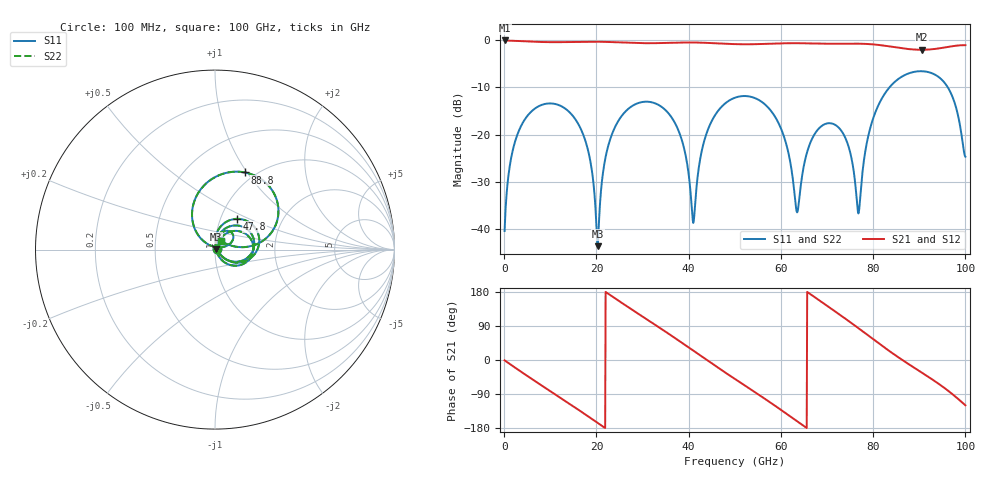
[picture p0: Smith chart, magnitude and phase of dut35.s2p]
! Touchstone file exported from HFSS 2026.1.0
!  File:  C:/ffzhzh/LocalFiles/Ansys_Project_Files/temp_train_TSV_RDL_35_1783441574_34316.aedt
!  Generated:  12:37:26 AM Jul  8, 2026
!  Design:  TSV_RDL
!  Project:  temp_train_TSV_RDL_35_1783441574_34316
! Variables:
!  h_bsmrdl = 3.8um
!  h_ox = 20um
!  h_rdl = 5um
!  h_sub = 92.84um
!  h_tmrdl = 3.72um
!  h_tsv = 92.84um
!  h_via = 3um
!  l_bsmrdl = 301.6um
!  l_sub = 2523.63um
!  l_tmrdl = 264.26um
!  m_sub = 200um
!  pitch = 41.88um
!  r_tsv = 12.11um
!  s_tmrdl = 10um
!  w_bsmrdl = 26.36um
!  w_sub = 500um
!  w_tmrdl = 27.57um
!  x_tsv_center1 = 278.045um
!  x_tsv_center2 = 606.005um
!  x_tsv_center3 = 897.835um
!  x_tsv_center4 = 1225.795um
!  x_tsv_center5 = 1517.625um
!  x_tsv_center6 = 1845.585um
# GHz S MA R 50.000000
! Terminal data exported
! Port[1] = TM_RDL1_1_T1
! Port[2] = TM_RDL5_1_T1
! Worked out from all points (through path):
!   1000 points, 100 MHz to 100 GHz, reference 50 ohm
!   highest |S21| = -0.07 dB at 100 MHz (marker M1); lowest = -2.0 dB at 90.5 GHz (marker M2)
!   group delay of S21, straight-line fit = 23.2 ps
!   lowest |S11| = -43.6 dB at 20.3 GHz (marker M3), VSWR 1.01, Z = 50.6 + j0.247 ohm
!   |S11| at or under -10 dB: start of sweep to 83.53 GHz; 96.19 GHz to end of sweep
!   |S22| runs from -43.8 to -6.6 dB; largest |S21 - S12| = 5.8e-13
!   S11 on the Smith chart (normalised r, x): 100 MHz: 1.02, +0.01; 47.8 GHz: 1.20, +0.43; 88.8 GHz: 0.89, +0.98; 100 GHz: 1.06, +0.10
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0.1  0.009603 28.6  0.9916 -0.9  0.9916 -0.9  0.009603 28.6
! Gamma 0 0 0 0
! Port Impedance 50 0 50 0
1.9  0.0695 62.7  0.9842 -16.2  0.9842 -16.2  0.0695 62.6
5.4  0.166 38.5  0.9666 -45.2  0.9666 -45.2  0.166 38.5
16.8  0.11 -48.1  0.9606 -137.1  0.9606 -137.1  0.11 -48.3
20.3  0.006636 21.6  0.9615 -166.2  0.9615 -166.2  0.006432 22.3
24.2  0.125 65.7  0.9489 161.4  0.9489 161.4  0.1251 65.7
33.4  0.2074 -3.8  0.9295 87.6  0.9295 87.6  0.2075 -4.0
38.3  0.09501 -38.8  0.9422 47.4  0.9422 47.4  0.09505 -39.4
41  0.01169 19.9  0.9436 24.6  0.9436 24.6  0.01072 18.9
43.5  0.09031 84.1  0.9371 3.5  0.9371 3.5  0.09005 84.7
47.8  0.2119 54.0  0.9158 -32.1  0.9158 -32.1  0.2117 54.2
50.1  0.2467 36.7  0.9068 -50.6  0.9068 -50.6  0.2466 36.8
59  0.1472 -29.5  0.9211 -123.0  0.9211 -123.0  0.1471 -29.5
63.5  0.01511 15.5  0.9278 -161.5  0.9278 -161.5  0.01483 15.6
66.7  0.08935 72.0  0.9219 171.1  0.9219 171.1  0.08931 72.2
73  0.1118 28.0  0.9157 117.5  0.9157 117.5  0.1118 28.3
76.8  0.01471 78.2  0.917 84.1  0.917 84.1  0.01513 78.4
83.4  0.3106 110.0  0.8598 24.6  0.8598 24.6  0.3106 110.0
88.8  0.4608 69.0  0.7957 -19.6  0.7957 -19.6  0.4608 68.9
90.5  0.4691 56.7  0.7908 -32.9  0.7908 -32.9  0.4692 56.7
96.5  0.2977 13.2  0.8515 -83.5  0.8515 -83.5  0.2978 13.1
100  0.05858 56.1  0.8834 -119.5  0.8834 -119.5  0.05828 55.9
